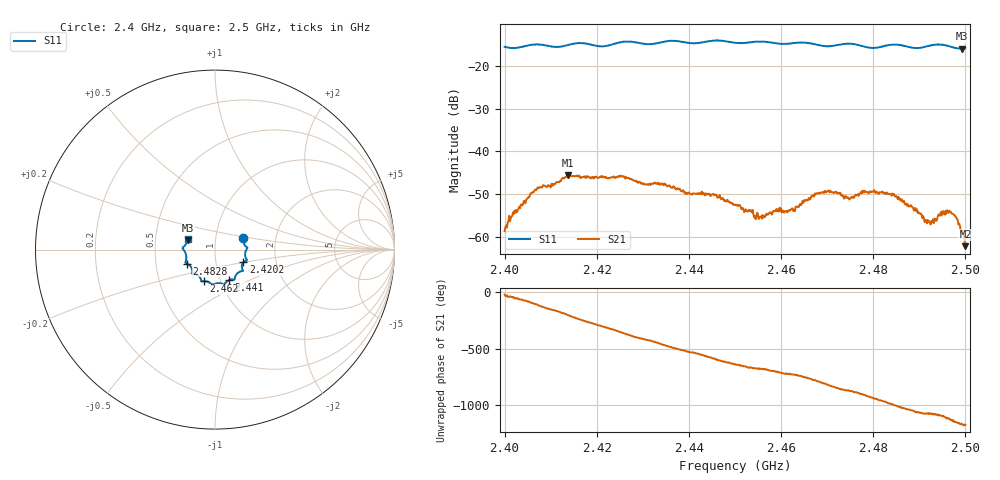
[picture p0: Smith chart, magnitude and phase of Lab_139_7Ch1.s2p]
# Hz S RI R 50
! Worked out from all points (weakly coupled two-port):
!   601 points, 2.4 GHz to 2.5 GHz, reference 50 ohm
!   highest |S21| = -45.58 dB at 2.4137 GHz (marker M1); lowest = -62.3 dB at 2.5 GHz (marker M2)
!   lowest |S11| = -15.8 dB at 2.4993 GHz (marker M3), VSWR 1.39, Z = 36.6 + j3.85 ohm
!   |S11| at or under -10 dB: start of sweep to end of sweep
!   S12 and S22 are empty: the file has one direction only
!   S11 on the Smith chart (normalised r, x): 2.4 GHz: 1.36, +0.18; 2.4202 GHz: 1.36, -0.20; 2.441 GHz: 1.10, -0.39; 2.462 GHz: 0.84, -0.30; 2.4828 GHz: 0.72, -0.12; 2.5 GHz: 0.73, +0.09
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2.4e9  0.1575 0.0631  0.00107 -0.000432  0 0  0 0
2.402e9  0.1592 0.0387  0.00127 -0.00133  0 0  0 0
2.406167e9  0.1796 0.0117  -0.000571 -0.00329  0 0  0 0
2.413667e9  0.1716 -0.0464  -0.00486 0.00202  0 0  0 0
2.416667e9  0.178 -0.06  -0.00191 0.00458  0 0  0 0
2.420167e9  0.1583 -0.0709  0.0017 0.00462  0 0  0 0
2.433333e9  0.1126 -0.151  -0.000193 -0.00429  0 0  0 0
2.441e9  0.0783 -0.1695  -0.0032 -0.000188  0 0  0 0
2.4455e9  0.0522 -0.1942  -0.00202 0.00229  0 0  0 0
2.45e9  0.0284 -0.1872  0.000339 0.00232  0 0  0 0
2.455667e9  -0.0141 -0.1954  0.00135 0.00108  0 0  0 0
2.462e9  -0.0605 -0.1755  0.002 -0.000297  0 0  0 0
2.466667e9  -0.0777 -0.1681  0.0018 -0.00237  0 0  0 0
2.47e9  -0.0952 -0.1436  -0.000549 -0.00338  0 0  0 0
2.474667e9  -0.1262 -0.135  -0.00244 -0.00134  0 0  0 0
2.478167e9  -0.1267 -0.1135  -0.00336 0.000771  0 0  0 0
2.482833e9  -0.1576 -0.0775  -0.000822 0.00313  0 0  0 0
2.483333e9  -0.1606 -0.0762  -0.000224 0.00315  0 0  0 0
2.492e9  -0.1737 -0.00217  0.00149 0.000195  0 0  0 0
2.497e9  -0.1677 0.023  0.00113 -0.00148  0 0  0 0
2.499333e9  -0.1531 0.0513  -6.9e-05 -0.00118  0 0  0 0
2.5e9  -0.1516 0.0611  -9.05e-05 -0.000765  0 0  0 0
